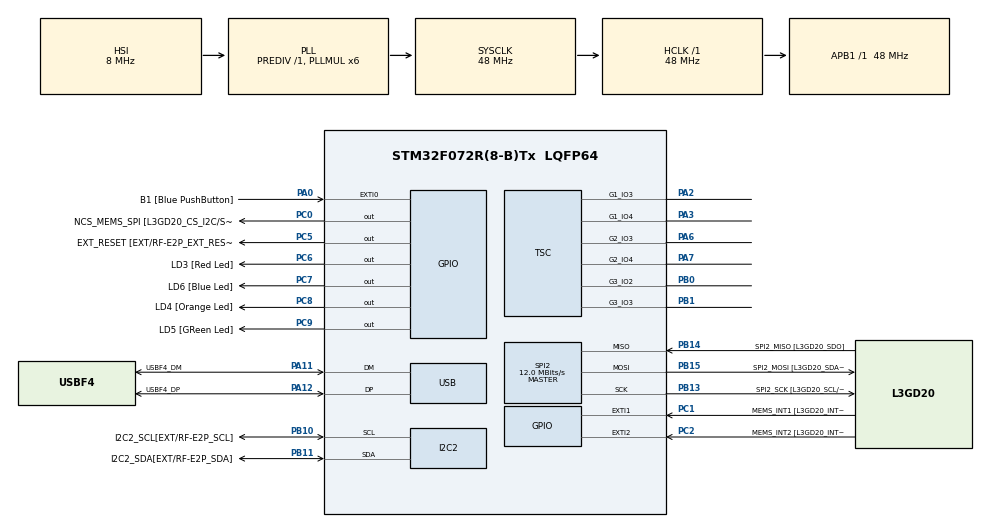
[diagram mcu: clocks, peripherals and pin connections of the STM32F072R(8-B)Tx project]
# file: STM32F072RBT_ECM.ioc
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I2C2.Timing=0x20303E5D
Mcu.Family=STM32F0
Mcu.Name=STM32F072R(8-B)Tx
Mcu.Package=LQFP64
NVIC.USB_IRQn=true\:0\:0\:false\:false\:true\:false\:true
PA0.GPIO_Label=B1 [Blue PushButton]
PA0.GPIO_ModeDefaultEXTI=GPIO_MODE_EVT_RISING
PA0.Signal=GPXTI0
PA11.GPIO_Label=USBF4_DM
PA11.Mode=Device
PA11.Signal=USB_DM
PA12.GPIO_Label=USBF4_DP
PA12.Mode=Device
PA12.Signal=USB_DP
PA13.GPIO_Label=SWDIO
PA13.Mode=Serial_Wire
PA13.Signal=SYS_SWDIO
PA14.GPIO_Label=SWCLK
PA14.Mode=Serial_Wire
PA14.Signal=SYS_SWCLK
PA2.Mode=G1_IO3-Channel
PA2.Signal=TSC_G1_IO3
PA3.Mode=G1_IO4-Sampling
PA3.Signal=TSC_G1_IO4
PA6.Mode=G2_IO3-Channel
PA6.Signal=TSC_G2_IO3
PA7.Mode=G2_IO4-Sampling
PA7.Signal=TSC_G2_IO4
PB0.Mode=G3_IO2-Channel
PB0.Signal=TSC_G3_IO2
PB1.Mode=G3_IO3-Sampling
PB1.Signal=TSC_G3_IO3
PB10.GPIO_Label=I2C2_SCL[EXT/RF-E2P_SCL]
PB10.GPIO_Pu=GPIO_PULLUP
PB10.Mode=I2C
PB10.Signal=I2C2_SCL
PB11.GPIO_Label=I2C2_SDA[EXT/RF-E2P_SDA]
PB11.GPIO_Pu=GPIO_PULLUP
PB11.Mode=I2C
PB11.Signal=I2C2_SDA
PB13.GPIO_Label=SPI2_SCK [L3GD20_SCL/SPC]
PB13.Mode=Full_Duplex_Master
PB13.Signal=SPI2_SCK
PB14.GPIO_Label=SPI2_MISO [L3GD20_SDO]
PB14.Mode=Full_Duplex_Master
PB14.Signal=SPI2_MISO
PB15.GPIO_Label=SPI2_MOSI [L3GD20_SDA/SDI]
PB15.Mode=Full_Duplex_Master
PB15.Signal=SPI2_MOSI
PC0.GPIO_Label=NCS_MEMS_SPI [L3GD20_CS_I2C/SPI]
PC0.Signal=GPIO_Output
PC1.GPIO_Label=MEMS_INT1 [L3GD20_INT1]
PC1.GPIO_ModeDefaultEXTI=GPIO_MODE_EVT_RISING
PC1.Signal=GPXTI1
PC2.GPIO_Label=MEMS_INT2 [L3GD20_INT2]
PC2.GPIO_ModeDefaultEXTI=GPIO_MODE_EVT_RISING
PC2.Signal=GPXTI2
PC5.GPIO_Label=EXT_RESET [EXT/RF-E2P_EXT_RESET]
PC5.Signal=GPIO_Output
PC6.GPIO_Label=LD3 [Red Led]
PC6.Signal=GPIO_Output
PC7.GPIO_Label=LD6 [Blue Led]
PC7.Signal=GPIO_Output
PC8.GPIO_Label=LD4 [Orange Led]
PC8.Signal=GPIO_Output
PC9.GPIO_Label=LD5 [GReen Led]
PC9.Signal=GPIO_Output
ProjectManager.HeapSize=0x200
ProjectManager.StackSize=0x400
ProjectManager.TargetToolchain=Makefile
RCC.AHBFreq_Value=48000000
RCC.APB1Freq_Value=48000000
RCC.APB1TimFreq_Value=48000000
RCC.HCLKFreq_Value=48000000
RCC.PLLMUL=RCC_PLL_MUL6
RCC.SYSCLKFreq_VALUE=48000000
RCC.SYSCLKSource=RCC_SYSCLKSOURCE_PLLCLK
SPI2.BaudRatePrescaler=SPI_BAUDRATEPRESCALER_4
SPI2.CalculateBaudRate=12.0 MBits/s
SPI2.Direction=SPI_DIRECTION_2LINES
SPI2.Mode=SPI_MODE_MASTER
SPI2.VirtualType=VM_MASTER
USB.phy_itface=PCD_PHY_EMBEDDED
USB.speed=PCD_SPEED_FULL
USB_DEVICE.CLASS_NAME_FS=CDC
USB_DEVICE.VirtualMode=Cdc
USB_DEVICE.VirtualModeFS=Cdc_FS
VP_USB_DEVICE_VS_USB_DEVICE_CDC_FS.Mode=CDC_FS
board=STM32F072B-DISCO

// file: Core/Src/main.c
/* USER CODE BEGIN Header */
/**
  ******************************************************************************
  * @file           : main.c
  * @brief          : Main program body
  ******************************************************************************
  * @attention
  *
  * <h2><center>&copy; Copyright (c) 2023 STMicroelectronics.
  * All rights reserved.</center></h2>
  *
  * This software component is licensed by ST under Ultimate Liberty license
  * SLA0044, the "License"; You may not use this file except in compliance with
  * the License. You may obtain a copy of the License at:
  *                             www.st.com/SLA0044
  *
  ******************************************************************************
  */
/* USER CODE END Header */
#include "main.h"
#include "usb_device.h"

/* USER CODE BEGIN Includes */
#include <stdint.h>
#include <stdlib.h>
#include <stdio.h>
#include "usbd_cdc_ecm.h"
#include "usbd_desc.h"
#include "usbd_conf.h"
#include "netif/etharp.h"
#include "lwip/init.h"
#include "lwip/netif.h"
#include "lwip/pbuf.h"
#include "lwip/icmp.h"
#include "lwip/udp.h"
#include "lwip/opt.h"
#include "lwip/arch.h"
#include "lwip/api.h"
#include "lwip/inet.h"
#include "lwip/dns.h"
#include "lwip/tcp_impl.h"
#include "lwip/tcp.h"
#include "time.h"
#include "httpd.h"
#include "dhserver.h"
#include "dnserver.h"
/* USER CODE END Includes */

I2C_HandleTypeDef hi2c2;

SPI_HandleTypeDef hspi2;

TSC_HandleTypeDef htsc;

/* USER CODE BEGIN PV */
USBD_HandleTypeDef USBD_Device;
/* USER CODE END PV */

void SystemClock_Config(void);
static void MX_GPIO_Init(void);
static void MX_I2C2_Init(void);
static void MX_SPI2_Init(void);
static void MX_TSC_Init(void);

/* USER CODE BEGIN 0 */

static struct netif netif_data;
static uint8_t hwaddr[6]  = {0x20,0x89,0x84,0x6A,0x96,0x00};
static uint8_t ipaddr[4]  = {192, 168, 7, 1};
static uint8_t netmask[4] = {255, 255, 255, 0};
static uint8_t gateway[4] = {0, 0, 0, 0};
static struct pbuf *received_frame;

static dhcp_entry_t entries[] =
{
    /* mac    ip address        subnet mask        lease time */
    { {0}, {192, 168, 7, 2}, {255, 255, 255, 0}, 24 * 60 * 60 },
    { {0}, {192, 168, 7, 3}, {255, 255, 255, 0}, 24 * 60 * 60 },
    { {0}, {192, 168, 7, 4}, {255, 255, 255, 0}, 24 * 60 * 60 }
};

static dhcp_config_t dhcp_config =
{
    {192, 168, 7, 1}, 67, /* server address, port */
    {192, 168, 7, 1},     /* dns server */
    "stm",                /* dns suffix */
    sizeof(entries) / sizeof(*entries),  /* num entry */
    entries               /* entries */
};

/* this function is called by usbd_ecm.c during an ISR; it must not block */
void usb_ecm_recv_callback(const uint8_t *data, int size)
{
  if (received_frame)
    return;

  received_frame = pbuf_alloc(PBUF_RAW, size, PBUF_POOL);
  if (!received_frame)
  {
    usb_ecm_recv_renew();
    return;
  }

  memcpy(received_frame->payload, data, size);
  received_frame->len = size;
}

uint32_t sys_now()
{
    return (uint32_t)mtime();
}

TIMER_PROC(tcp_timer, TCP_TMR_INTERVAL, 1, NULL)
{
    tcp_tmr();
}

err_t output_fn(struct netif *netif, struct pbuf *p, ip_addr_t *ipaddr)
{
    return etharp_output(netif, p, ipaddr);
}

err_t linkoutput_fn(struct netif *netif, struct pbuf *p)
{
    int i;
    for (i = 0; i < 200; i++)
    {
        if (usb_ecm_can_xmit()) goto ready;
        msleep(1);
    }
    return ERR_USE;
ready:
    usb_ecm_xmit_packet(p);
    return ERR_OK;
}

err_t netif_init_cb(struct netif *netif)
{
    LWIP_ASSERT("netif != NULL", (netif != NULL));
    netif->mtu = ECM_MTU;
    netif->flags = NETIF_FLAG_BROADCAST | NETIF_FLAG_ETHARP | NETIF_FLAG_LINK_UP | NETIF_FLAG_UP;
    netif->state = NULL;
    netif->name[0] = 'E';
    netif->name[1] = 'X';
    netif->linkoutput = linkoutput_fn;
    netif->output = output_fn;
    return ERR_OK;
}

#define PADDR(ptr) ((ip_addr_t *)ptr)

static void init_lwip()
{
    struct netif  *netif = &netif_data;

    lwip_init();
    netif->hwaddr_len = 6;
    memcpy(netif->hwaddr, hwaddr, 6);

    netif = netif_add(netif, PADDR(ipaddr), PADDR(netmask), PADDR(gateway), NULL, netif_init_cb, ip_input);
    netif_set_default(netif);

    stmr_add(&tcp_timer);
}

bool dns_query_proc(const char *name, ip_addr_t *addr)
{
    if (strcmp(name, "run.stm") == 0 || strcmp(name, "www.run.stm") == 0)
    {
        addr->addr = *(uint32_t *)ipaddr;
        return true;
    }
    return false;
}

const char *state_cgi_handler(int index, int n_params, char *params[], char *values[])
{
    return "/state.shtml";
}

bool alpha = false;
bool bravo = false;
bool charlie = false;

const char *ctl_cgi_handler(int index, int n_params, char *params[], char *values[])
{
    int i;
    for (i = 0; i < n_params; i++)
    {
        if (strcmp(params[i], "a") == 0) alpha = *values[i] == '1';
        if (strcmp(params[i], "b") == 0) bravo = *values[i] == '1';
        if (strcmp(params[i], "c") == 0) charlie = *values[i] == '1';
    }

    return "/state.shtml";
}

static const char *ssi_tags_table[] =
{
    "systick", /* 0 */
    "alpha",   /* 1 */
    "bravo",   /* 2 */
    "charlie"  /* 3 */
};

static const tCGI cgi_uri_table[] =
{
    { "/state.cgi", state_cgi_handler },
    { "/ctl.cgi",   ctl_cgi_handler },
};

static u16_t ssi_handler(int index, char *insert, int ins_len)
{
    int res;

    if (ins_len < 32) return 0;

    switch (index)
    {
    case 0: /* systick */
        res = snprintf(insert, ins_len, "%u", (unsigned)mtime());
        break;
    case 1: /* alpha */
        *insert = '0' + (alpha & 1);
        res = 1;
        break;
    case 2: /* bravo */
        *insert = '0' + (bravo & 1);
        res = 1;
        break;
    case 3: /* charlie */
        *insert = '0' + (charlie & 1);
        res = 1;
        break;
    }

    return res;
}

static void service_traffic(void)
{
  struct pbuf *frame;

  /* retrieve and clear var set by usb_ecm_recv_callback() in ISR */
  __disable_irq();
  frame = received_frame;
  received_frame = NULL;
  __enable_irq();

  if (!frame)
    return; /* no packet was received */

  /* packet was received, so handle it */
  ethernet_input(frame, &netif_data);
  pbuf_free(frame);

  /* tell usbd_ecm.c it is OK to receive another packet */
  usb_ecm_recv_renew();
}
/* USER CODE END 0 */

int main(void)
{

  /* MCU Configuration--------------------------------------------------------*/

  /* Reset of all peripherals, Initializes the Flash interface and the Systick. */
  HAL_Init();

  /* Configure the system clock */
  SystemClock_Config();

  /* Initialize all configured peripherals */
  MX_GPIO_Init();
  MX_I2C2_Init();
  MX_SPI2_Init();
  MX_TSC_Init();

  /* USER CODE BEGIN 2 */
    /* Init Device Library */
    USBD_Init(&USBD_Device, &VCP_Desc, 0);

    /* Add Supported Class */
    USBD_RegisterClass(&USBD_Device, &USBD_ECM);

    /* Add ECM Interface Class */
    USBD_ECM_RegisterInterface(&USBD_Device);

    /* Start Device Process */
    USBD_Start(&USBD_Device);

    time_init();
    init_lwip();

    while (!netif_is_up(&netif_data));

    while (dhserv_init(&dhcp_config) != ERR_OK);

    while (dnserv_init(PADDR(ipaddr), 53, dns_query_proc) != ERR_OK);

    http_set_cgi_handlers(cgi_uri_table, sizeof(cgi_uri_table) / sizeof(*cgi_uri_table));
    http_set_ssi_handler(ssi_handler, ssi_tags_table, sizeof(ssi_tags_table) / sizeof(*ssi_tags_table));
    httpd_init();
  /* USER CODE END 2 */

  /* Infinite loop */
  while (1)
  {
    service_traffic();
    stmr();
  }
}

void SystemClock_Config(void)
{
  RCC_OscInitTypeDef RCC_OscInitStruct = {0};
  RCC_ClkInitTypeDef RCC_ClkInitStruct = {0};
  RCC_PeriphCLKInitTypeDef PeriphClkInit = {0};

  /** Initializes the RCC Oscillators according to the specified parameters
  * in the RCC_OscInitTypeDef structure.
  */
  RCC_OscInitStruct.OscillatorType = RCC_OSCILLATORTYPE_HSI|RCC_OSCILLATORTYPE_HSI48;
  RCC_OscInitStruct.HSIState = RCC_HSI_ON;
  RCC_OscInitStruct.HSI48State = RCC_HSI48_ON;
  RCC_OscInitStruct.HSICalibrationValue = RCC_HSICALIBRATION_DEFAULT;
  RCC_OscInitStruct.PLL.PLLState = RCC_PLL_ON;
  RCC_OscInitStruct.PLL.PLLSource = RCC_PLLSOURCE_HSI;
  RCC_OscInitStruct.PLL.PLLMUL = RCC_PLL_MUL6;
  RCC_OscInitStruct.PLL.PREDIV = RCC_PREDIV_DIV1;
  if (HAL_RCC_OscConfig(&RCC_OscInitStruct) != HAL_OK)
  {
    Error_Handler();
  }
  /** Initializes the CPU, AHB and APB buses clocks
  */
  RCC_ClkInitStruct.ClockType = RCC_CLOCKTYPE_HCLK|RCC_CLOCKTYPE_SYSCLK
                              |RCC_CLOCKTYPE_PCLK1;
  RCC_ClkInitStruct.SYSCLKSource = RCC_SYSCLKSOURCE_PLLCLK;
  RCC_ClkInitStruct.AHBCLKDivider = RCC_SYSCLK_DIV1;
  RCC_ClkInitStruct.APB1CLKDivider = RCC_HCLK_DIV1;

  if (HAL_RCC_ClockConfig(&RCC_ClkInitStruct, FLASH_LATENCY_1) != HAL_OK)
  {
    Error_Handler();
  }
  PeriphClkInit.PeriphClockSelection = RCC_PERIPHCLK_USB;
  PeriphClkInit.UsbClockSelection = RCC_USBCLKSOURCE_HSI48;

  if (HAL_RCCEx_PeriphCLKConfig(&PeriphClkInit) != HAL_OK)
  {
    Error_Handler();
  }
}

static void MX_I2C2_Init(void)
{

  hi2c2.Instance = I2C2;
  hi2c2.Init.Timing = 0x20303E5D;
  hi2c2.Init.OwnAddress1 = 0;
  hi2c2.Init.AddressingMode = I2C_ADDRESSINGMODE_7BIT;
  hi2c2.Init.DualAddressMode = I2C_DUALADDRESS_DISABLE;
  hi2c2.Init.OwnAddress2 = 0;
  hi2c2.Init.OwnAddress2Masks = I2C_OA2_NOMASK;
  hi2c2.Init.GeneralCallMode = I2C_GENERALCALL_DISABLE;
  hi2c2.Init.NoStretchMode = I2C_NOSTRETCH_DISABLE;
  if (HAL_I2C_Init(&hi2c2) != HAL_OK)
  {
    Error_Handler();
  }
  /** Configure Analogue filter
  */
  if (HAL_I2CEx_ConfigAnalogFilter(&hi2c2, I2C_ANALOGFILTER_ENABLE) != HAL_OK)
  {
    Error_Handler();
  }
  /** Configure Digital filter
  */
  if (HAL_I2CEx_ConfigDigitalFilter(&hi2c2, 0) != HAL_OK)
  {
    Error_Handler();
  }

}

static void MX_SPI2_Init(void)
{

  /* SPI2 parameter configuration*/
  hspi2.Instance = SPI2;
  hspi2.Init.Mode = SPI_MODE_MASTER;
  hspi2.Init.Direction = SPI_DIRECTION_2LINES;
  hspi2.Init.DataSize = SPI_DATASIZE_4BIT;
  hspi2.Init.CLKPolarity = SPI_POLARITY_LOW;
  hspi2.Init.CLKPhase = SPI_PHASE_1EDGE;
  hspi2.Init.NSS = SPI_NSS_SOFT;
  hspi2.Init.BaudRatePrescaler = SPI_BAUDRATEPRESCALER_4;
  hspi2.Init.FirstBit = SPI_FIRSTBIT_MSB;
  hspi2.Init.TIMode = SPI_TIMODE_DISABLE;
  hspi2.Init.CRCCalculation = SPI_CRCCALCULATION_DISABLE;
  hspi2.Init.CRCPolynomial = 7;
  hspi2.Init.CRCLength = SPI_CRC_LENGTH_DATASIZE;
  hspi2.Init.NSSPMode = SPI_NSS_PULSE_ENABLE;
  if (HAL_SPI_Init(&hspi2) != HAL_OK)
  {
    Error_Handler();
  }

}

static void MX_TSC_Init(void)
{

  /** Configure the TSC peripheral
  */
  htsc.Instance = TSC;
  htsc.Init.CTPulseHighLength = TSC_CTPH_2CYCLES;
  htsc.Init.CTPulseLowLength = TSC_CTPL_2CYCLES;
  htsc.Init.SpreadSpectrum = DISABLE;
  htsc.Init.SpreadSpectrumDeviation = 1;
  htsc.Init.SpreadSpectrumPrescaler = TSC_SS_PRESC_DIV1;
  htsc.Init.PulseGeneratorPrescaler = TSC_PG_PRESC_DIV4;
  htsc.Init.MaxCountValue = TSC_MCV_8191;
  htsc.Init.IODefaultMode = TSC_IODEF_OUT_PP_LOW;
  htsc.Init.SynchroPinPolarity = TSC_SYNC_POLARITY_FALLING;
  htsc.Init.AcquisitionMode = TSC_ACQ_MODE_NORMAL;
  htsc.Init.MaxCountInterrupt = DISABLE;
  htsc.Init.ChannelIOs = TSC_GROUP1_IO3|TSC_GROUP2_IO3|TSC_GROUP3_IO2;
  htsc.Init.ShieldIOs = 0;
  htsc.Init.SamplingIOs = TSC_GROUP1_IO4|TSC_GROUP2_IO4|TSC_GROUP3_IO3;
  if (HAL_TSC_Init(&htsc) != HAL_OK)
  {
    Error_Handler();
  }

}

static void MX_GPIO_Init(void)
{
  GPIO_InitTypeDef GPIO_InitStruct = {0};

  /* GPIO Ports Clock Enable */
  __HAL_RCC_GPIOC_CLK_ENABLE();
  __HAL_RCC_GPIOA_CLK_ENABLE();
  __HAL_RCC_GPIOB_CLK_ENABLE();

  /*Configure GPIO pin Output Level */
  HAL_GPIO_WritePin(GPIOC, NCS_MEMS_SPI_Pin|EXT_RESET_Pin|LD3_Pin|LD6_Pin
                          |LD4_Pin|LD5_Pin, GPIO_PIN_RESET);

  /*Configure GPIO pins : NCS_MEMS_SPI_Pin EXT_RESET_Pin LD3_Pin LD6_Pin
                           LD4_Pin LD5_Pin */
  GPIO_InitStruct.Pin = NCS_MEMS_SPI_Pin|EXT_RESET_Pin|LD3_Pin|LD6_Pin
                          |LD4_Pin|LD5_Pin;
  GPIO_InitStruct.Mode = GPIO_MODE_OUTPUT_PP;
  GPIO_InitStruct.Pull = GPIO_NOPULL;
  GPIO_InitStruct.Speed = GPIO_SPEED_FREQ_LOW;
  HAL_GPIO_Init(GPIOC, &GPIO_InitStruct);

  /*Configure GPIO pins : MEMS_INT1_Pin MEMS_INT2_Pin */
  GPIO_InitStruct.Pin = MEMS_INT1_Pin|MEMS_INT2_Pin;
  GPIO_InitStruct.Mode = GPIO_MODE_EVT_RISING;
  GPIO_InitStruct.Pull = GPIO_NOPULL;
  HAL_GPIO_Init(GPIOC, &GPIO_InitStruct);

  /*Configure GPIO pin : B1_Pin */
  GPIO_InitStruct.Pin = B1_Pin;
  GPIO_InitStruct.Mode = GPIO_MODE_EVT_RISING;
  GPIO_InitStruct.Pull = GPIO_NOPULL;
  HAL_GPIO_Init(B1_GPIO_Port, &GPIO_InitStruct);

}

void Error_Handler(void)
{
  __disable_irq();
  while (1)
  {
  }
}

/************************ (C) COPYRIGHT STMicroelectronics *****END OF FILE****/
